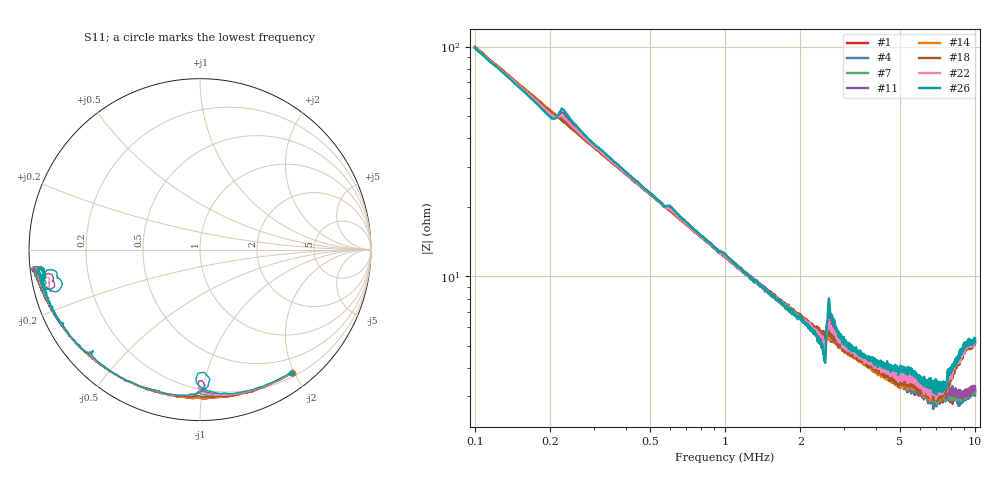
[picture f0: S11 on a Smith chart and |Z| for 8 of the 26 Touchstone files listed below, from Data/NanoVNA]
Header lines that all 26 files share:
# HZ S RI R 50
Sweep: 100 kHz to 9.999 MHz
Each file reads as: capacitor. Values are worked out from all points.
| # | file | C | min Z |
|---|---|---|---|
| 1 | C2_N0VDC.s1p | 15.1 nF | 2.67 ohm |
| 2 | C2_N10VDC.s1p | 15.1 nF | 2.75 ohm |
| 3 | C2_N20VDC.s1p | 15.1 nF | 2.8 ohm |
| 4 | C2_N30VDC.s1p | 15.1 nF | 2.64 ohm |
| 5 | C2_N40VDC.s1p | 15.1 nF | 2.72 ohm |
| 6 | C2_N50VDC.s1p | 15 nF | 2.8 ohm |
| 7 | C2_N60VDC.s1p | 15 nF | 2.79 ohm |
| 8 | C2_N70VDC.s1p | 14.9 nF | 2.84 ohm |
| 9 | C2_N80VDC.s1p | 14.8 nF | 2.84 ohm |
| 10 | C2_N90VDC.s1p | 14.8 nF | 2.87 ohm |
| 11 | C2_N100VDC.s1p | 14.7 nF | 2.9 ohm |
| 12 | C2_N110VDC.s1p | 14.6 nF | 2.93 ohm |
| 13 | C2_N120VDC.s1p | 14.5 nF | 2.92 ohm |
| 14 | C2_P0VDC.s1p | 15.1 nF | 2.87 ohm |
| 15 | C2_P10VDC.s1p | 15.1 nF | 2.81 ohm |
| 16 | C2_P20VDC.s1p | 15.1 nF | 2.85 ohm |
| 17 | C2_P30VDC.s1p | 15.1 nF | 2.79 ohm |
| 18 | C2_P40VDC.s1p | 15.1 nF | 2.86 ohm |
| 19 | C2_P50VDC.s1p | 15.1 nF | 2.87 ohm |
| 20 | C2_P60VDC.s1p | 15 nF | 2.91 ohm |
| 21 | C2_P70VDC.s1p | 14.9 nF | 2.88 ohm |
| 22 | C2_P80VDC.s1p | 14.9 nF | 2.93 ohm |
| 23 | C2_P90VDC.s1p | 14.8 nF | 3.02 ohm |
| 24 | C2_P100VDC.s1p | 14.7 nF | 3 ohm |
| 25 | C2_P110VDC.s1p | 14.7 nF | 3.07 ohm |
| 26 | C2_P120VDC.s1p | 14.6 nF | 3.06 ohm |
